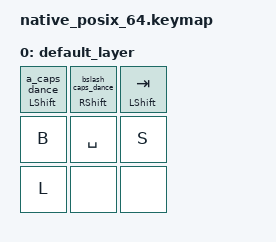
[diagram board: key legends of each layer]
#include <dt-bindings/zmk/keys.h>
#include <behaviors.dtsi>
#include <dt-bindings/zmk/kscan_mock.h>

/ {
    behaviors {
        ht: hold_tap {
            label = "hold_tap";
            compatible = "zmk,behavior-hold-tap";
            #binding-cells = <2>;
            flavor = "balanced";
            tapping-term-ms = <175>;
            quick-tap-ms = <125>;
            bindings = <&kp>, <&kp>;
        };
        a_caps_dance: a_caps_dance {
            compatible = "zmk,behavior-tap-dance";
            #binding-cells = <0>;
            tapping-term-ms = <200>;
            bindings = <&kp A>, <&caps_word>;
        };
        bslash_caps_dance: bslash_caps_dance {
            compatible = "zmk,behavior-tap-dance";
            #binding-cells = <0>;
            tapping-term-ms = <200>;
            bindings = <&kp BSLH>, <&caps_word>;
        };
        a_shift: a_shift {
            compatible = "zmk,behavior-hold-tap";
            #binding-cells = <2>;
            flavor = "balanced";
            tapping-term-ms = <190>;
            quick-tap-ms = <120>;
            require-prior-idle-ms = <100>;
            bindings = <&kp>, <&a_caps_dance>;
        };
        bslash_shift: bslash_shift {
            compatible = "zmk,behavior-hold-tap";
            #binding-cells = <2>;
            flavor = "balanced";
            tapping-term-ms = <190>;
            quick-tap-ms = <120>;
            require-prior-idle-ms = <100>;
            bindings = <&kp>, <&bslash_caps_dance>;
        };
    };
    combos {
        compatible = "zmk,combos";
        minus {
            timeout-ms = <25>;
            key-positions = <0 5>;
            bindings = <&kp MINUS>;
        };
        equal {
            timeout-ms = <25>;
            key-positions = <6 1>;
            bindings = <&kp EQUAL>;
        };
    };
    keymap {
        compatible = "zmk,keymap";
        default_layer {
            bindings = <
                &a_shift LSHFT 0  &bslash_shift RSHFT 0  &ht LSHFT TAB
                &kp B             &kp SPACE               &kp S
                &kp L             &none                   &none
            >;
        };
    };
};

&kscan {
    rows = <3>;
    columns = <3>;
    events = <
        // Three rapid Tabs must remain three Tabs, not Caps Word.
        ZMK_MOCK_PRESS(0,2,30) ZMK_MOCK_RELEASE(0,2,30)
        ZMK_MOCK_PRESS(0,2,30) ZMK_MOCK_RELEASE(0,2,30)
        ZMK_MOCK_PRESS(0,2,30) ZMK_MOCK_RELEASE(0,2,300)
        ZMK_MOCK_PRESS(1,0,20) ZMK_MOCK_RELEASE(1,0,300)

        // Single taps produce A and backslash.
        ZMK_MOCK_PRESS(0,0,40) ZMK_MOCK_RELEASE(0,0,300)
        ZMK_MOCK_PRESS(0,1,40) ZMK_MOCK_RELEASE(0,1,300)

        // Each pinky double-tap enables Caps Word; Space exits.
        ZMK_MOCK_PRESS(0,0,40) ZMK_MOCK_RELEASE(0,0,50)
        ZMK_MOCK_PRESS(0,0,40) ZMK_MOCK_RELEASE(0,0,250)
        ZMK_MOCK_PRESS(1,0,20) ZMK_MOCK_RELEASE(1,0,20)
        ZMK_MOCK_PRESS(1,1,20) ZMK_MOCK_RELEASE(1,1,300)
        ZMK_MOCK_PRESS(0,1,40) ZMK_MOCK_RELEASE(0,1,50)
        ZMK_MOCK_PRESS(0,1,40) ZMK_MOCK_RELEASE(0,1,250)
        ZMK_MOCK_PRESS(1,0,20) ZMK_MOCK_RELEASE(1,0,20)
        ZMK_MOCK_PRESS(1,1,20) ZMK_MOCK_RELEASE(1,1,300)

        // Both home-row keys still hold Shift; Tab still holds Shift too.
        ZMK_MOCK_PRESS(0,0,40) ZMK_MOCK_PRESS(1,0,40)
        ZMK_MOCK_RELEASE(1,0,20) ZMK_MOCK_RELEASE(0,0,300)
        ZMK_MOCK_PRESS(0,1,40) ZMK_MOCK_PRESS(1,0,40)
        ZMK_MOCK_RELEASE(1,0,20) ZMK_MOCK_RELEASE(0,1,300)
        ZMK_MOCK_PRESS(0,2,40) ZMK_MOCK_PRESS(1,0,40)
        ZMK_MOCK_RELEASE(1,0,20) ZMK_MOCK_RELEASE(0,2,300)

        // Combos involving those keys continue to work.
        ZMK_MOCK_PRESS(0,0,10) ZMK_MOCK_PRESS(1,2,30)
        ZMK_MOCK_RELEASE(1,2,10) ZMK_MOCK_RELEASE(0,0,300)
        ZMK_MOCK_PRESS(2,0,10) ZMK_MOCK_PRESS(0,1,30)
        ZMK_MOCK_RELEASE(0,1,10) ZMK_MOCK_RELEASE(2,0,300)

        // Rolling immediately to another key preserves typing order.
        ZMK_MOCK_PRESS(0,0,40) ZMK_MOCK_RELEASE(0,0,30)
        ZMK_MOCK_PRESS(1,0,20) ZMK_MOCK_RELEASE(1,0,300)
        ZMK_MOCK_PRESS(0,1,40) ZMK_MOCK_RELEASE(0,1,30)
        ZMK_MOCK_PRESS(1,0,20) ZMK_MOCK_RELEASE(1,0,300)
    >;
};
